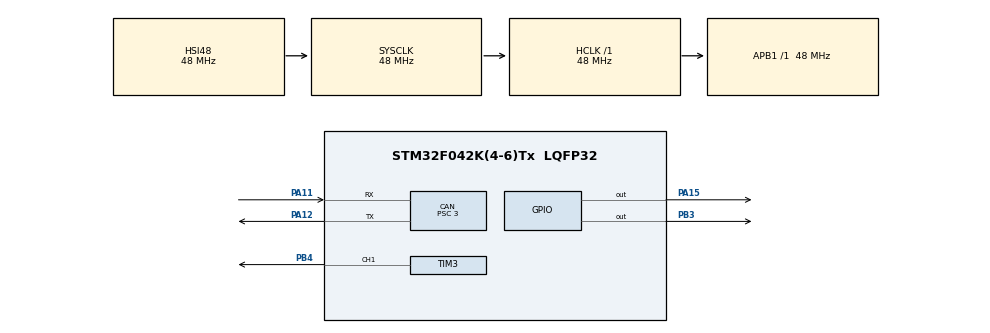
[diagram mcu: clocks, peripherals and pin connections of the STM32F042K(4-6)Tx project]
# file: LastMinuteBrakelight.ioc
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CAN.ABOM=ENABLE
CAN.AWUM=ENABLE
CAN.BS1=CAN_BS1_10TQ
CAN.BS2=CAN_BS2_5TQ
CAN.CalculateBaudRate=1000000
CAN.CalculateTimeBit=1000
CAN.CalculateTimeQuantum=62.5
CAN.Prescaler=3
CAN.SJW=CAN_SJW_2TQ
Mcu.Family=STM32F0
Mcu.Name=STM32F042K(4-6)Tx
Mcu.Package=LQFP32
NVIC.CEC_CAN_IRQn=true\:0\:0\:false\:false\:true\:true\:true\:true
PA11.Mode=CAN_Activate
PA11.Signal=CAN_RX
PA12.Mode=CAN_Activate
PA12.Signal=CAN_TX
PA15.Signal=GPIO_Output
PB3.Signal=GPIO_Output
PB4.Signal=S_TIM3_CH1
ProjectManager.HeapSize=0x200
ProjectManager.StackSize=0x400
ProjectManager.TargetToolchain=STM32CubeIDE
RCC.AHBFreq_Value=48000000
RCC.APB1Freq_Value=48000000
RCC.APB1TimFreq_Value=48000000
RCC.HCLKFreq_Value=48000000
RCC.SYSCLKFreq_VALUE=48000000
RCC.SYSCLKSource=RCC_SYSCLKSOURCE_HSI48
SH.S_TIM3_CH1.0=TIM3_CH1,PWM Generation1 CH1
TIM3.Channel-PWM\ Generation1\ CH1=TIM_CHANNEL_1
TIM3.Period=20000-1
TIM3.Prescaler=48-1
board=custom

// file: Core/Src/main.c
/* USER CODE BEGIN Header */
/**
  ******************************************************************************
  * @file           : main.c
  * @brief          : Main program body
  ******************************************************************************
  * @attention
  *
  * Copyright (c) 2023 STMicroelectronics.
  * All rights reserved.
  *
  * This software is licensed under terms that can be found in the LICENSE file
  * in the root directory of this software component.
  * If no LICENSE file comes with this software, it is provided AS-IS.
  *
  ******************************************************************************
  */
/* USER CODE END Header */
#include "main.h"
#include "can.h"
#include "tim.h"
#include "gpio.h"

/* USER CODE BEGIN Includes */
#include <time.h>

/* USER CODE END Includes */

/* USER CODE BEGIN PV */
uint8_t	brake_pressure_front = 0;
uint16_t rx_timer = 0;
uint8_t bl_state = 0;
uint8_t inverterTemp = 0;
uint8_t pump_state = 0;

uint8_t button = 0;
uint8_t buttonstate = 0;
uint8_t button_old = 0;

uint32_t fan_timer = 0;

/* USER CODE END PV */

void SystemClock_Config(void);

int main(void)
{

  /* MCU Configuration--------------------------------------------------------*/

  /* Reset of all peripherals, Initializes the Flash interface and the Systick. */
  HAL_Init();

  /* Configure the system clock */
  SystemClock_Config();

  /* Initialize all configured peripherals */
  MX_GPIO_Init();
  MX_CAN_Init();
  MX_TIM3_Init();
  /* USER CODE BEGIN 2 */

  if (HAL_CAN_Start(&hcan) != HAL_OK)
  {
    Error_Handler();
  }
  HAL_TIM_PWM_Start(&htim3, TIM_CHANNEL_1);
  FAN_TIMER->FAN_CHANNEL = 19000-1;
  fan_timer = HAL_GetTick();

  HAL_Delay(1000);
  for (int i=0; i<3; i++){
	  HAL_GPIO_WritePin(BRAKELIGHT_LED, GPIO_PIN_SET);
	  HAL_Delay(60);
	  HAL_GPIO_WritePin(BRAKELIGHT_LED, GPIO_PIN_RESET);
	  HAL_Delay(100);
	  HAL_GPIO_WritePin(BRAKELIGHT_LED, GPIO_PIN_SET);
	  HAL_Delay(60);
	  HAL_GPIO_WritePin(BRAKELIGHT_LED, GPIO_PIN_RESET);
	  HAL_Delay(400);
  }

  /* USER CODE END 2 */

  /* Infinite loop */
  /* USER CODE BEGIN WHILE */
  while (1)
  {
    HAL_Delay(1);

    // Handle Brakelight
	  if (brake_pressure_front > BP_THRESHOLD) {
		  bl_state = 1;
	  }
	  if (brake_pressure_front < BP_THRESHOLD / 2){
		  bl_state = 0;
	  }

	  HAL_GPIO_WritePin(BRAKELIGHT_LED, bl_state);

	  if (rx_timer > 1000) {
		  brake_pressure_front = 0;
	  }
	  rx_timer++;

    // Handle Pump
	  if (inverterTemp > PUMP_THRESHOLD) {
		  pump_state = 1;
	  }
	  if (inverterTemp < PUMP_THRESHOLD - 10){
		  pump_state = 0;
	  }
    HAL_GPIO_WritePin(PUMP, pump_state);

//    pump_state = button;

    // Handle Fan
    if (HAL_GetTick() - fan_timer > 6000) {
      if (pump_state) {
        FAN_TIMER->FAN_CHANNEL = 18940;
      } else {
        FAN_TIMER->FAN_CHANNEL = 19000-1;
      }
    }

    /* USER CODE END WHILE */

  }
}

void SystemClock_Config(void)
{
  RCC_OscInitTypeDef RCC_OscInitStruct = {0};
  RCC_ClkInitTypeDef RCC_ClkInitStruct = {0};

  /** Initializes the RCC Oscillators according to the specified parameters
  * in the RCC_OscInitTypeDef structure.
  */
  RCC_OscInitStruct.OscillatorType = RCC_OSCILLATORTYPE_HSI48;
  RCC_OscInitStruct.HSI48State = RCC_HSI48_ON;
  RCC_OscInitStruct.PLL.PLLState = RCC_PLL_NONE;
  if (HAL_RCC_OscConfig(&RCC_OscInitStruct) != HAL_OK)
  {
    Error_Handler();
  }

  /** Initializes the CPU, AHB and APB buses clocks
  */
  RCC_ClkInitStruct.ClockType = RCC_CLOCKTYPE_HCLK|RCC_CLOCKTYPE_SYSCLK
                              |RCC_CLOCKTYPE_PCLK1;
  RCC_ClkInitStruct.SYSCLKSource = RCC_SYSCLKSOURCE_HSI48;
  RCC_ClkInitStruct.AHBCLKDivider = RCC_SYSCLK_DIV1;
  RCC_ClkInitStruct.APB1CLKDivider = RCC_HCLK_DIV1;

  if (HAL_RCC_ClockConfig(&RCC_ClkInitStruct, FLASH_LATENCY_1) != HAL_OK)
  {
    Error_Handler();
  }
}

void Error_Handler(void)
{
  __disable_irq();
  while (1)
  {
  }
}
